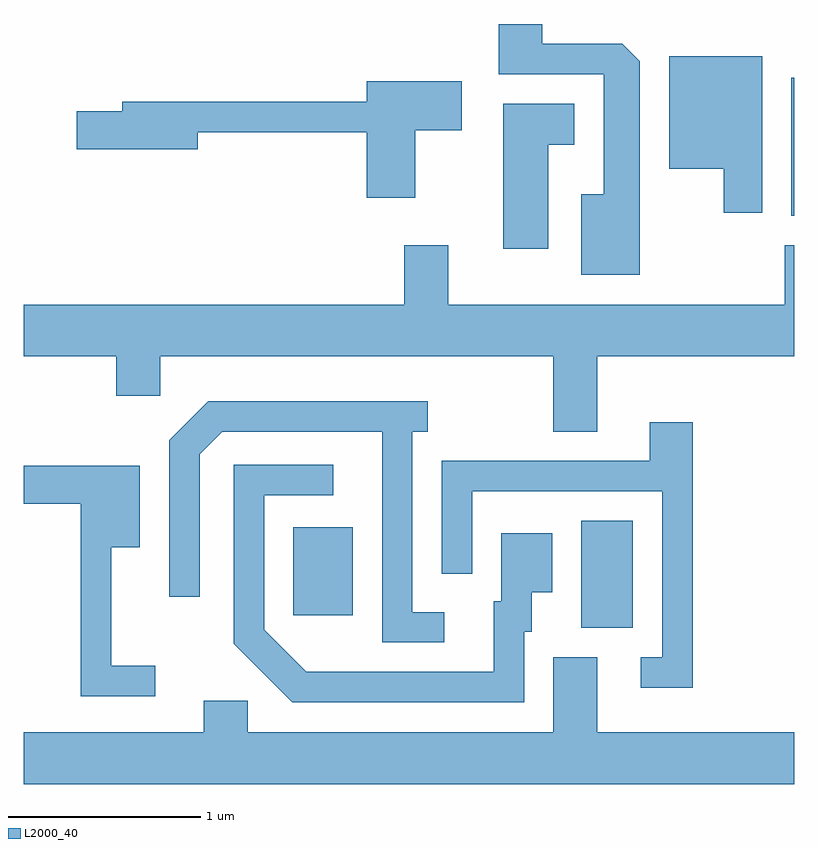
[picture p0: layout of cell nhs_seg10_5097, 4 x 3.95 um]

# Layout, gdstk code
import gdstk
lib = gdstk.Library(unit=1e-6, precision=1e-09)
def R(c, l, rs):  # rectangles x0, y0, x1, y1
    for r in rs: c.add(gdstk.rectangle(r[:2], r[2:], *l))
def P(c, l, *ps):  # polygons
    for p in ps: c.add(gdstk.Polygon(p, *l))
L2000_40 = (2000, 40)

nhs_seg10_5097 = lib.new_cell('nhs_seg10_5097')
R(nhs_seg10_5097, L2000_40, [(338.506,2121.386,338.774,2121.944), (337.011,2121.451,337.319,2121.909), (339.596,2123.526,339.611,2124.244)])
P(nhs_seg10_5097, L2000_40, [(338.809,2124.329),(338.719,2124.419),(338.304,2124.419),(338.304,2124.522),(338.076,2124.522),(338.076,2124.261),(338.621,2124.261),(338.621,2123.639),(338.506,2123.639),(338.506,2123.221),(338.809,2123.221)],
  [(339.444,2124.354),(338.961,2124.354),(338.961,2123.771),(339.246,2123.771),(339.246,2123.541),(339.444,2123.541)],
  [(337.644,2123.971),(337.884,2123.971),(337.884,2124.224),(337.391,2124.224),(337.391,2124.119),(336.121,2124.119),(336.121,2124.069),(335.886,2124.069),(335.886,2123.871),(336.514,2123.871),(336.514,2123.961),(337.391,2123.961),(337.391,2123.621),(337.644,2123.621)],
  [(338.334,2123.896),(338.469,2123.896),(338.469,2124.109),(338.101,2124.109),(338.101,2123.356),(338.334,2123.356)],
  [(338.589,2122.796),(339.611,2122.796),(339.611,2123.374),(339.561,2123.374),(339.561,2123.064),(337.814,2123.064),(337.814,2123.374),(337.586,2123.374),(337.586,2123.064),(335.611,2123.064),(335.611,2122.796),(336.091,2122.796),(336.091,2122.591),(336.319,2122.591),(336.319,2122.796),(338.361,2122.796),(338.361,2122.406),(338.589,2122.406)],
  [(337.793,2121.469),(337.629,2121.469),(337.629,2122.406),(337.708,2122.406),(337.708,2122.564),(336.569,2122.564),(336.366,2122.362),(336.366,2121.548),(336.524,2121.548),(336.524,2122.289),(336.642,2122.406),(337.471,2122.406),(337.471,2121.311),(337.793,2121.311)],
  [(339.084,2122.454),(338.861,2122.454),(338.861,2122.254),(337.781,2122.254),(337.781,2121.668),(337.939,2121.668),(337.939,2122.096),(338.926,2122.096),(338.926,2121.234),(338.813,2121.234),(338.813,2121.076),(339.084,2121.076)],
  [(338.209,2121.366),(338.249,2121.366),(338.249,2121.571),(338.354,2121.571),(338.354,2121.879),(338.091,2121.879),(338.091,2121.524),(338.051,2121.524),(338.051,2121.159),(337.077,2121.159),(336.859,2121.377),(336.859,2122.076),(337.218,2122.076),(337.218,2122.234),(336.701,2122.234),(336.701,2121.304),(337.004,2121.001),(338.209,2121.001)],
  [(336.293,2121.189),(336.064,2121.189),(336.064,2121.806),(336.214,2121.806),(336.214,2122.229),(335.611,2122.229),(335.611,2122.031),(335.906,2122.031),(335.906,2121.031),(336.293,2121.031)],
  [(339.611,2120.844),(338.589,2120.844),(338.589,2121.234),(338.361,2121.234),(338.361,2120.844),(336.774,2120.844),(336.774,2121.009),(336.546,2121.009),(336.546,2120.844),(335.611,2120.844),(335.611,2120.576),(339.611,2120.576)])

lib.write_gds('nhs_seg10_5097.gds')
